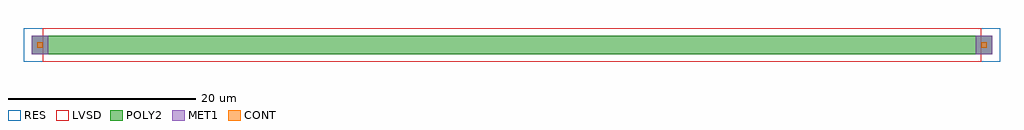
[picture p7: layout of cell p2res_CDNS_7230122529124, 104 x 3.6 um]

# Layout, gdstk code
import gdstk
lib = gdstk.Library(unit=1e-6, precision=1e-09)
def R(c, l, rs):  # rectangles x0, y0, x1, y1
    for r in rs: c.add(gdstk.rectangle(r[:2], r[2:], *l))
POLY2 = (13, 0)
CONT = (31, 0)
MET1 = (32, 0)
RES = (51, 0)
LVSD = (60, 0)

poly2cont_cdns_723012252 = lib.new_cell('poly2cont_CDNS_7230122529125')
R(poly2cont_cdns_723012252, POLY2, [(0.1,0.1,1.7,1.9)])
R(poly2cont_cdns_723012252, CONT, [(0.6,0.7,1.2,1.3)])
R(poly2cont_cdns_723012252, MET1, [(0,0,1.8,2)])

p2res_cdns_7230122529124 = lib.new_cell('p2res_CDNS_7230122529124')
R(p2res_cdns_7230122529124, POLY2, [(0.8,0.8,103.2,2.8)])
R(p2res_cdns_7230122529124, RES, [(0,0,104,3.6)])
R(p2res_cdns_7230122529124, LVSD, [(2,0,102,3.6)])
p2res_cdns_7230122529124.add(gdstk.Reference(poly2cont_cdns_723012252, (0.8,0.8)))
p2res_cdns_7230122529124.add(gdstk.Reference(poly2cont_cdns_723012252, (101.4,0.8)))

lib.write_gds('p2res_CDNS_7230122529124.gds')
